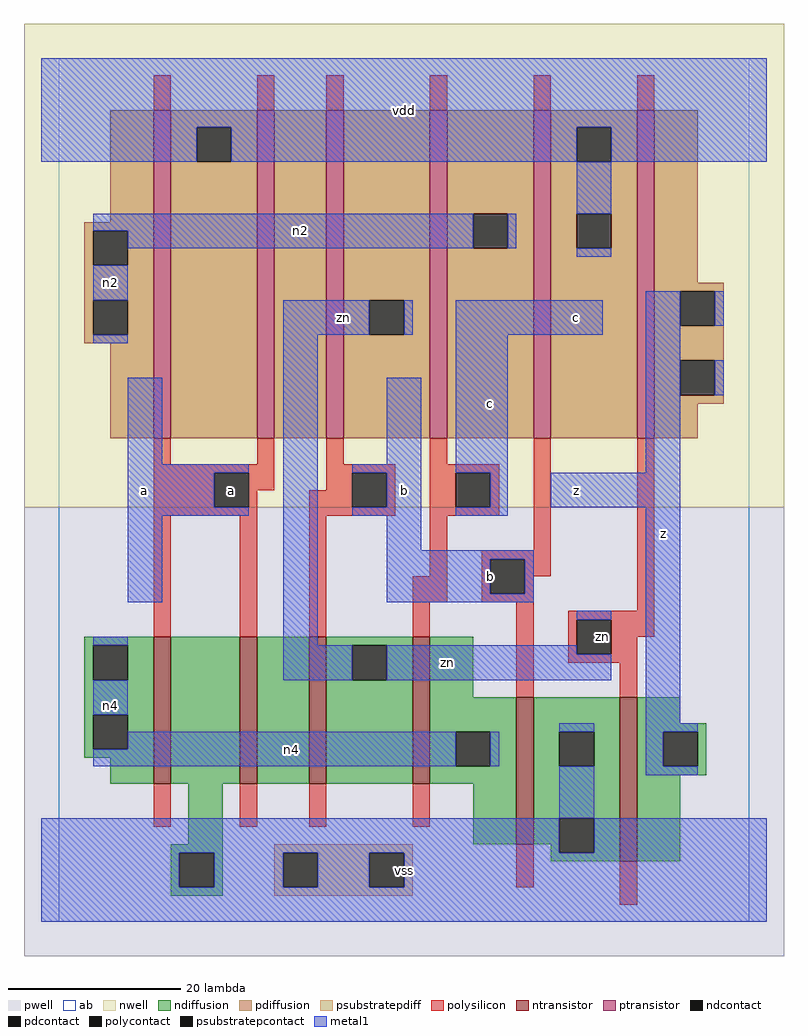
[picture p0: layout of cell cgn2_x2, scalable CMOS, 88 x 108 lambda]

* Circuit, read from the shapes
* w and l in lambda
.subckt cgn2_x2 a b c n2 n4 vdd vss z zn
M1 vss a n4 vss nfet w=17 l=2
M2 n1 a vss vss nfet w=17 l=2
M3 zn b n1 vss nfet w=17 l=2
M4 n4 c zn vss nfet w=17 l=2
M5 vss b n4 vss nfet w=17 l=2
M6 z zn vss vss nfet w=19 l=2
M7 vdd a n2 n3 pfet w=38 l=2
M8 n5 a vdd n3 pfet w=38 l=2
M9 zn b n5 n3 pfet w=38 l=2
M10 n2 c zn n3 pfet w=38 l=2
M11 vdd b n2 n3 pfet w=38 l=2
M12 z zn vdd n3 pfet w=38 l=2
.ends

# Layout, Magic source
magic
tech scmos
<< ab >>
rect 0 0 80 100
<< pwell >>
rect -4 -4 84 48
<< nwell >>
rect -4 48 84 104
<< polysilicon >>
rect 11 94 13 98
rect 23 94 25 98
rect 31 94 33 98
rect 43 94 45 98
rect 55 94 57 98
rect 67 94 69 98
rect 11 53 13 56
rect 23 53 25 56
rect 11 52 25 53
rect 11 48 18 52
rect 22 50 25 52
rect 31 53 33 56
rect 43 53 45 56
rect 31 52 39 53
rect 31 50 34 52
rect 22 48 23 50
rect 11 47 23 48
rect 11 33 13 47
rect 21 33 23 47
rect 29 48 34 50
rect 38 48 39 52
rect 29 47 39 48
rect 43 52 51 53
rect 43 48 46 52
rect 50 48 51 52
rect 43 47 51 48
rect 29 33 31 47
rect 43 40 45 47
rect 55 43 57 56
rect 41 37 45 40
rect 49 42 57 43
rect 49 38 50 42
rect 54 40 57 42
rect 54 38 55 40
rect 49 37 55 38
rect 41 33 43 37
rect 53 26 55 37
rect 67 36 69 56
rect 59 35 69 36
rect 59 31 60 35
rect 64 33 69 35
rect 64 31 67 33
rect 59 30 67 31
rect 65 26 67 30
rect 11 11 13 16
rect 21 11 23 16
rect 29 11 31 16
rect 41 11 43 16
rect 53 4 55 9
rect 65 2 67 7
<< ndiffusion >>
rect 3 32 11 33
rect 3 28 4 32
rect 8 28 11 32
rect 3 24 11 28
rect 3 20 4 24
rect 8 20 11 24
rect 3 19 11 20
rect 6 16 11 19
rect 13 16 21 33
rect 23 16 29 33
rect 31 32 41 33
rect 31 28 34 32
rect 38 28 41 32
rect 31 16 41 28
rect 43 26 48 33
rect 43 22 53 26
rect 43 18 46 22
rect 50 18 53 22
rect 43 16 53 18
rect 15 9 19 16
rect 48 9 53 16
rect 55 22 65 26
rect 55 18 58 22
rect 62 18 65 22
rect 55 12 65 18
rect 55 9 58 12
rect 13 8 19 9
rect 13 4 14 8
rect 18 4 19 8
rect 13 3 19 4
rect 57 8 58 9
rect 62 8 65 12
rect 57 7 65 8
rect 67 23 72 26
rect 67 22 75 23
rect 67 18 70 22
rect 74 18 75 22
rect 67 17 75 18
rect 67 7 72 17
<< pdiffusion >>
rect 6 81 11 94
rect 3 80 11 81
rect 3 76 4 80
rect 8 76 11 80
rect 3 72 11 76
rect 3 68 4 72
rect 8 68 11 72
rect 3 67 11 68
rect 6 56 11 67
rect 13 92 23 94
rect 13 88 16 92
rect 20 88 23 92
rect 13 56 23 88
rect 25 56 31 94
rect 33 72 43 94
rect 33 68 36 72
rect 40 68 43 72
rect 33 56 43 68
rect 45 82 55 94
rect 45 78 48 82
rect 52 78 55 82
rect 45 56 55 78
rect 57 92 67 94
rect 57 88 60 92
rect 64 88 67 92
rect 57 82 67 88
rect 57 78 60 82
rect 64 78 67 82
rect 57 56 67 78
rect 69 74 74 94
rect 69 73 77 74
rect 69 69 72 73
rect 76 69 77 73
rect 69 65 77 69
rect 69 61 72 65
rect 76 61 77 65
rect 69 60 77 61
rect 69 56 74 60
<< metal1 >>
rect -2 92 82 100
rect -2 88 16 92
rect 20 88 60 92
rect 64 88 82 92
rect 60 82 64 88
rect 4 80 48 82
rect 8 78 48 80
rect 52 78 53 82
rect 60 77 64 78
rect 4 72 8 76
rect 4 67 8 68
rect 26 68 36 72
rect 40 68 41 72
rect 46 68 63 72
rect 8 53 12 63
rect 8 52 22 53
rect 8 48 18 52
rect 8 47 22 48
rect 8 37 12 47
rect 4 32 8 33
rect 26 32 30 68
rect 38 53 42 63
rect 34 52 42 53
rect 38 48 42 52
rect 34 47 42 48
rect 46 52 52 68
rect 68 52 72 73
rect 76 69 77 73
rect 76 61 77 65
rect 50 48 52 52
rect 57 48 72 52
rect 46 47 52 48
rect 38 43 42 47
rect 38 42 55 43
rect 38 38 50 42
rect 54 38 55 42
rect 38 37 55 38
rect 60 35 64 36
rect 26 28 34 32
rect 38 31 60 32
rect 38 28 64 31
rect 4 24 8 28
rect 68 23 72 48
rect 58 22 62 23
rect 8 20 46 22
rect 4 18 46 20
rect 50 18 51 22
rect 58 12 62 18
rect 68 22 74 23
rect 68 18 70 22
rect 68 17 74 18
rect -2 8 58 12
rect 62 8 82 12
rect -2 4 14 8
rect 18 4 26 8
rect 30 4 36 8
rect 40 4 82 8
rect -2 0 82 4
<< ntransistor >>
rect 11 16 13 33
rect 21 16 23 33
rect 29 16 31 33
rect 41 16 43 33
rect 53 9 55 26
rect 65 7 67 26
<< ptransistor >>
rect 11 56 13 94
rect 23 56 25 94
rect 31 56 33 94
rect 43 56 45 94
rect 55 56 57 94
rect 67 56 69 94
<< polycontact >>
rect 18 48 22 52
rect 34 48 38 52
rect 46 48 50 52
rect 50 38 54 42
rect 60 31 64 35
<< ndcontact >>
rect 4 28 8 32
rect 4 20 8 24
rect 34 28 38 32
rect 46 18 50 22
rect 58 18 62 22
rect 14 4 18 8
rect 58 8 62 12
rect 70 18 74 22
<< pdcontact >>
rect 4 76 8 80
rect 4 68 8 72
rect 16 88 20 92
rect 36 68 40 72
rect 48 78 52 82
rect 60 88 64 92
rect 60 78 64 82
rect 72 69 76 73
rect 72 61 76 65
<< psubstratepcontact >>
rect 26 4 30 8
rect 36 4 40 8
<< psubstratepdiff >>
rect 25 8 41 9
rect 25 4 26 8
rect 30 4 36 8
rect 40 4 41 8
rect 25 3 41 4
<< labels >>
rlabel polycontact 63 33 63 33 6 zn
rlabel metal1 6 25 6 25 6 n4
rlabel metal1 10 50 10 50 6 a
rlabel metal1 6 74 6 74 6 n2
rlabel polycontact 20 50 20 50 6 a
rlabel metal1 40 6 40 6 6 vss
rlabel metal1 40 50 40 50 6 b
rlabel metal1 33 70 33 70 6 zn
rlabel metal1 40 94 40 94 6 vdd
rlabel metal1 27 20 27 20 6 n4
rlabel metal1 45 30 45 30 6 zn
rlabel polycontact 62 32 62 32 6 zn
rlabel metal1 50 40 50 40 6 b
rlabel metal1 60 50 60 50 6 z
rlabel metal1 50 60 50 60 6 c
rlabel metal1 60 70 60 70 6 c
rlabel metal1 28 80 28 80 6 n2
rlabel metal1 70 45 70 45 6 z
<< end >>
